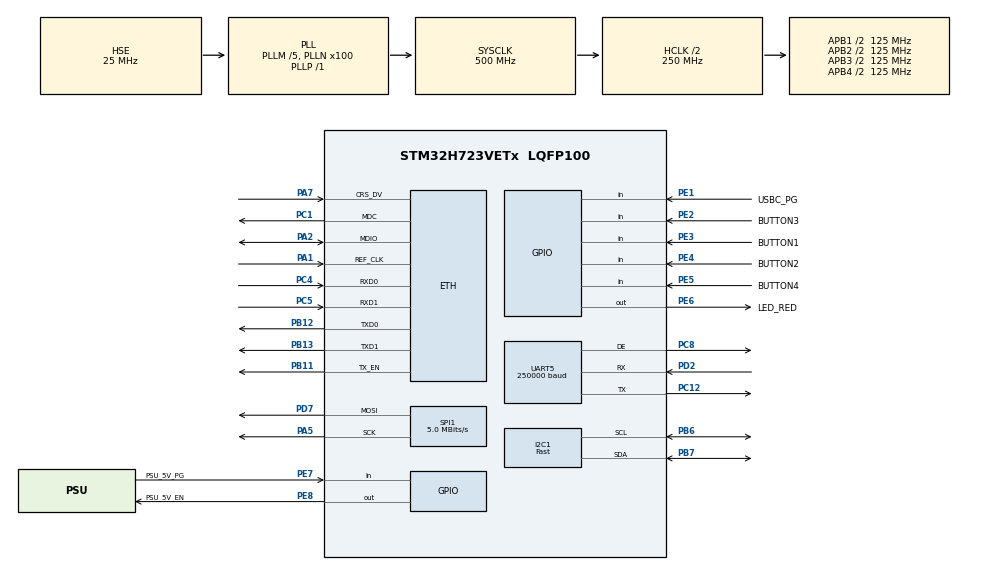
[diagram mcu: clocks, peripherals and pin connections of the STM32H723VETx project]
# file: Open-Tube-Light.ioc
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CORTEX_M7.AccessPermission_S-Cortex_Memory_Protection_Unit_Region1_Settings_S=MPU_REGION_FULL_ACCESS
CORTEX_M7.AccessPermission_S-Cortex_Memory_Protection_Unit_Region2_Settings_S=MPU_REGION_FULL_ACCESS
CORTEX_M7.AccessPermission_Spec=MPU_REGION_NO_ACCESS
CORTEX_M7.BaseAddress_S-Cortex_Memory_Protection_Unit_Region1_Settings_S=0x30000000
CORTEX_M7.BaseAddress_S-Cortex_Memory_Protection_Unit_Region2_Settings_S=0x24000000
CORTEX_M7.BaseAddress_Spec=0x0
CORTEX_M7.CPU_DCache=Enabled
CORTEX_M7.CPU_ICache=Enabled
CORTEX_M7.DisableExec_S-Cortex_Memory_Protection_Unit_Region1_Settings_S=MPU_INSTRUCTION_ACCESS_DISABLE
CORTEX_M7.DisableExec_S-Cortex_Memory_Protection_Unit_Region2_Settings_S=MPU_INSTRUCTION_ACCESS_DISABLE
CORTEX_M7.Enable_S-Cortex_Memory_Protection_Unit_Region1_Settings_S=MPU_REGION_ENABLE
CORTEX_M7.Enable_S-Cortex_Memory_Protection_Unit_Region2_Settings_S=MPU_REGION_ENABLE
CORTEX_M7.Enable_S-Cortex_Memory_Protection_Unit_Region3_Settings_S=__NULL
CORTEX_M7.IsBufferable_S-Cortex_Memory_Protection_Unit_Region1_Settings_S=MPU_ACCESS_NOT_BUFFERABLE
CORTEX_M7.IsBufferable_Spec=MPU_ACCESS_NOT_BUFFERABLE
CORTEX_M7.IsShareable_S-Cortex_Memory_Protection_Unit_Region1_Settings_S=MPU_ACCESS_SHAREABLE
CORTEX_M7.IsShareable_S-Cortex_Memory_Protection_Unit_Region2_Settings_S=MPU_ACCESS_SHAREABLE
CORTEX_M7.Size_S-Cortex_Memory_Protection_Unit_Region1_Settings_S=MPU_REGION_SIZE_32KB
CORTEX_M7.Size_S-Cortex_Memory_Protection_Unit_Region2_Settings_S=MPU_REGION_SIZE_64KB
CORTEX_M7.Size_Spec=MPU_REGION_SIZE_4GB
CORTEX_M7.SubRegionDisable_Spec=0x87
CORTEX_M7.TypeExtField_S-Cortex_Memory_Protection_Unit_Region1_Settings_S=MPU_TEX_LEVEL1
CORTEX_M7.TypeExtField_S-Cortex_Memory_Protection_Unit_Region2_Settings_S=MPU_TEX_LEVEL1
CORTEX_M7.default_mode_Activation=1
Dma.I2C1_TX.2.Direction=DMA_MEMORY_TO_PERIPH
Dma.I2C1_TX.2.EventEnable=DISABLE
Dma.I2C1_TX.2.FIFOMode=DMA_FIFOMODE_DISABLE
Dma.I2C1_TX.2.Instance=DMA1_Stream2
Dma.I2C1_TX.2.MemDataAlignment=DMA_MDATAALIGN_BYTE
Dma.I2C1_TX.2.MemInc=DMA_MINC_ENABLE
Dma.I2C1_TX.2.Mode=DMA_NORMAL
Dma.I2C1_TX.2.PeriphDataAlignment=DMA_PDATAALIGN_BYTE
Dma.I2C1_TX.2.PeriphInc=DMA_PINC_DISABLE
Dma.I2C1_TX.2.Polarity=HAL_DMAMUX_REQ_GEN_RISING
Dma.I2C1_TX.2.Priority=DMA_PRIORITY_LOW
Dma.I2C1_TX.2.RequestNumber=1
Dma.I2C1_TX.2.SignalID=NONE
Dma.I2C1_TX.2.SyncEnable=DISABLE
Dma.I2C1_TX.2.SyncPolarity=HAL_DMAMUX_SYNC_NO_EVENT
Dma.I2C1_TX.2.SyncRequestNumber=1
Dma.I2C1_TX.2.SyncSignalID=NONE
Dma.Request0=SPI1_TX
Dma.Request1=UART5_RX
Dma.Request2=I2C1_TX
Dma.SPI1_TX.0.Direction=DMA_MEMORY_TO_PERIPH
Dma.SPI1_TX.0.EventEnable=DISABLE
Dma.SPI1_TX.0.FIFOMode=DMA_FIFOMODE_DISABLE
Dma.SPI1_TX.0.Instance=DMA1_Stream0
Dma.SPI1_TX.0.MemDataAlignment=DMA_MDATAALIGN_BYTE
Dma.SPI1_TX.0.MemInc=DMA_MINC_ENABLE
Dma.SPI1_TX.0.Mode=DMA_NORMAL
Dma.SPI1_TX.0.PeriphDataAlignment=DMA_PDATAALIGN_BYTE
Dma.SPI1_TX.0.PeriphInc=DMA_PINC_DISABLE
Dma.SPI1_TX.0.Polarity=HAL_DMAMUX_REQ_GEN_RISING
Dma.SPI1_TX.0.Priority=DMA_PRIORITY_MEDIUM
Dma.SPI1_TX.0.RequestNumber=1
Dma.SPI1_TX.0.SignalID=NONE
Dma.SPI1_TX.0.SyncEnable=DISABLE
Dma.SPI1_TX.0.SyncPolarity=HAL_DMAMUX_SYNC_NO_EVENT
Dma.SPI1_TX.0.SyncRequestNumber=1
Dma.SPI1_TX.0.SyncSignalID=NONE
Dma.UART5_RX.1.Direction=DMA_PERIPH_TO_MEMORY
Dma.UART5_RX.1.EventEnable=DISABLE
Dma.UART5_RX.1.FIFOMode=DMA_FIFOMODE_DISABLE
Dma.UART5_RX.1.Instance=DMA1_Stream1
Dma.UART5_RX.1.MemDataAlignment=DMA_MDATAALIGN_BYTE
Dma.UART5_RX.1.MemInc=DMA_MINC_ENABLE
Dma.UART5_RX.1.Mode=DMA_NORMAL
Dma.UART5_RX.1.PeriphDataAlignment=DMA_PDATAALIGN_BYTE
Dma.UART5_RX.1.PeriphInc=DMA_PINC_DISABLE
Dma.UART5_RX.1.Polarity=HAL_DMAMUX_REQ_GEN_RISING
Dma.UART5_RX.1.Priority=DMA_PRIORITY_MEDIUM
Dma.UART5_RX.1.RequestNumber=1
Dma.UART5_RX.1.SignalID=NONE
Dma.UART5_RX.1.SyncEnable=DISABLE
Dma.UART5_RX.1.SyncPolarity=HAL_DMAMUX_SYNC_NO_EVENT
Dma.UART5_RX.1.SyncRequestNumber=1
Dma.UART5_RX.1.SyncSignalID=NONE
ETH.ETH_RX_DESC_CNT=20
ETH.MediaInterface=HAL_ETH_RMII_MODE
ETH.RxBufferAddress=0x24008000
ETH.RxDescAddress=0x30000000
ETH.TxDescAddress=0x300001e0
FREERTOS.Tasks01=ControlTask,16,512,ControlTaskRun,Default,NULL,Dynamic,NULL,NULL;EffectTask,32,512,EffectTaskRun,Default,NULL,Dynamic,NULL,NULL
FREERTOS.configCHECK_FOR_STACK_OVERFLOW=2
FREERTOS.configUSE_NEWLIB_REENTRANT=1
I2C1.I2C_Speed_Mode=I2C_Fast
I2C1.Timing=0x00C042E4
LWIP.BSP.number=1
LWIP.ETH_RX_BUFFER_CNT=20
LWIP.GATEWAY_ADDRESS=192.168.001.001
LWIP.IP_ADDRESS=192.168.001.179
LWIP.IP_FRAG=1
LWIP.IP_REASSEMBLY=0
LWIP.LWIP_DHCP=0
LWIP.LWIP_RAM_HEAP_POINTER=0x24000000
LWIP.MEMP_NUM_UDP_PCB=10
LWIP.MEM_SIZE=32*1024
LWIP.NETMASK_ADDRESS=255.255.255.000
LWIP.PBUF_POOL_BUFSIZE=1536
LWIP.PBUF_POOL_SIZE=24
LWIP.TCPIP_THREAD_STACKSIZE=2048
LWIP.Version=v2.2.1_Cube
LWIP0.BSP.STBoard=false
LWIP0.BSP.api=BSP_COMPONENT_DRIVER
LWIP0.BSP.component=LAN8742
LWIP0.BSP.instance=LAN8742
LWIP0.BSP.name=Driver_PHY
LWIP0.BSP.semaphore=S_LAN8742
LWIP0.BSP.solution=LAN8742
Mcu.Family=STM32H7
Mcu.Name=STM32H723VETx
Mcu.Package=LQFP100
NVIC.DMA1_Stream0_IRQn=true\:5\:0\:false\:false\:true\:true\:false\:true\:true
NVIC.DMA1_Stream1_IRQn=true\:5\:0\:false\:false\:true\:true\:false\:true\:true
NVIC.DMA1_Stream2_IRQn=true\:5\:0\:false\:false\:true\:true\:false\:true\:true
NVIC.ETH_IRQn=true\:5\:0\:false\:false\:true\:true\:true\:true\:true
NVIC.I2C1_ER_IRQn=true\:5\:0\:false\:false\:true\:true\:true\:true\:true
NVIC.I2C1_EV_IRQn=true\:5\:0\:false\:false\:true\:true\:true\:true\:true
NVIC.PriorityGroup=NVIC_PRIORITYGROUP_4
NVIC.SPI1_IRQn=true\:5\:0\:false\:false\:true\:true\:false\:true\:true
NVIC.TIM6_DAC_IRQn=true\:15\:0\:false\:false\:true\:false\:false\:true\:true
NVIC.TimeBase=TIM6_DAC_IRQn
NVIC.TimeBaseIP=TIM6
NVIC.UART5_IRQn=true\:3\:0\:true\:false\:true\:false\:true\:true\:true
PA1.GPIO_Speed=GPIO_SPEED_FREQ_VERY_HIGH
PA1.Mode=RMII
PA1.Signal=ETH_REF_CLK
PA13(JTMS/SWDIO).Mode=Trace_Asynchronous_SW
PA13(JTMS/SWDIO).Signal=DEBUG_JTMS-SWDIO
PA14(JTCK/SWCLK).Mode=Trace_Asynchronous_SW
PA14(JTCK/SWCLK).Signal=DEBUG_JTCK-SWCLK
PA2.GPIO_Speed=GPIO_SPEED_FREQ_VERY_HIGH
PA2.Mode=RMII
PA2.Signal=ETH_MDIO
PA5.GPIO_Speed=GPIO_SPEED_FREQ_MEDIUM
PA5.Mode=TX_Only_Simplex_Unidirect_Master
PA5.Signal=SPI1_SCK
PA7.GPIO_Speed=GPIO_SPEED_FREQ_VERY_HIGH
PA7.Mode=RMII
PA7.Signal=ETH_CRS_DV
PB11.GPIO_Speed=GPIO_SPEED_FREQ_VERY_HIGH
PB11.Mode=RMII
PB11.Signal=ETH_TX_EN
PB12.GPIO_Speed=GPIO_SPEED_FREQ_VERY_HIGH
PB12.Mode=RMII
PB12.Signal=ETH_TXD0
PB13.GPIO_Speed=GPIO_SPEED_FREQ_VERY_HIGH
PB13.Mode=RMII
PB13.Signal=ETH_TXD1
PB3(JTDO/TRACESWO).Mode=Trace_Asynchronous_SW
PB3(JTDO/TRACESWO).Signal=DEBUG_JTDO-SWO
PB6.Mode=I2C
PB6.Signal=I2C1_SCL
PB7.Mode=I2C
PB7.Signal=I2C1_SDA
PC1.GPIO_Speed=GPIO_SPEED_FREQ_VERY_HIGH
PC1.Mode=RMII
PC1.Signal=ETH_MDC
PC12.Mode=Asynchronous
PC12.Signal=UART5_TX
PC4.GPIO_Speed=GPIO_SPEED_FREQ_VERY_HIGH
PC4.Mode=RMII
PC4.Signal=ETH_RXD0
PC5.GPIO_Speed=GPIO_SPEED_FREQ_VERY_HIGH
PC5.Mode=RMII
PC5.Signal=ETH_RXD1
PC8.Mode=Hardware Flow Control (RS485)
PC8.Signal=UART5_DE
PD2.Mode=Asynchronous
PD2.Signal=UART5_RX
PD7.GPIO_Speed=GPIO_SPEED_FREQ_MEDIUM
PD7.Mode=TX_Only_Simplex_Unidirect_Master
PD7.Signal=SPI1_MOSI
PE1.GPIO_Label=USBC_PG
PE1.Signal=GPIO_Input
PE2.GPIO_Label=BUTTON3
PE2.Signal=GPIO_Input
PE3.GPIO_Label=BUTTON1
PE3.Signal=GPIO_Input
PE4.GPIO_Label=BUTTON2
PE4.Signal=GPIO_Input
PE5.GPIO_Label=BUTTON4
PE5.Signal=GPIO_Input
PE6.GPIO_Label=LED_RED
PE6.Signal=GPIO_Output
PE7.GPIO_Label=PSU_5V_PG
PE7.Signal=GPIO_Input
PE8.GPIO_Label=PSU_5V_EN
PE8.Signal=GPIO_Output
PH0-OSC_IN.Mode=HSE-External-Oscillator
PH0-OSC_IN.Signal=RCC_OSC_IN
PH1-OSC_OUT.Mode=HSE-External-Oscillator
PH1-OSC_OUT.Signal=RCC_OSC_OUT
ProjectManager.HeapSize=0x200
ProjectManager.StackSize=0x400
ProjectManager.TargetToolchain=CMake
RCC.ADCFreq_Value=400000000
RCC.APB1Freq_Value=125000000
RCC.APB2Freq_Value=125000000
RCC.APB3Freq_Value=125000000
RCC.APB4Freq_Value=125000000
RCC.CortexFreq_Value=500000000
RCC.D1PPRE=RCC_APB3_DIV2
RCC.D2PPRE1=RCC_APB1_DIV2
RCC.D2PPRE2=RCC_APB2_DIV2
RCC.D3PPRE=RCC_APB4_DIV2
RCC.DIVM1=5
RCC.DIVM2=4
RCC.DIVN1=100
RCC.DIVN2=128
RCC.DIVP1=1
RCC.DIVQ1=50
RCC.HCLKFreq_Value=250000000
RCC.HPRE=RCC_HCLK_DIV2
RCC.PLLSourceVirtual=RCC_PLLSOURCE_HSE
RCC.SYSCLKFreq_VALUE=500000000
RCC.SYSCLKSource=RCC_SYSCLKSOURCE_PLLCLK
RCC.USBFreq_Value=10000000
SPI1.CLKPhase=SPI_PHASE_2EDGE
SPI1.CLKPolarity=SPI_POLARITY_HIGH
SPI1.CalculateBaudRate=5.0 MBits/s
SPI1.DataSize=SPI_DATASIZE_8BIT
SPI1.Direction=SPI_DIRECTION_2LINES_TXONLY
SPI1.MasterKeepIOState=SPI_MASTER_KEEP_IO_STATE_ENABLE
SPI1.Mode=SPI_MODE_MASTER
SPI1.VirtualType=VM_MASTER
UART5.BaudRate=250000
UART5.StopBits=UART_STOPBITS_1
VP_FREERTOS_VS_CMSIS_V2.Mode=CMSIS_V2
VP_LWIP_VS_Enabled.Mode=Enabled
VP_MEMORYMAP_VS_MEMORYMAP.Mode=CurAppReg
VP_SYS_VS_tim6.Mode=TIM6
board=custom

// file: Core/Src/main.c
/* USER CODE BEGIN Header */
/**
 ******************************************************************************
 * @file           : main.c
 * @brief          : Main program body
 ******************************************************************************
 * @attention
 *
 * Copyright (c) 2026 STMicroelectronics.
 * All rights reserved.
 *
 * This software is licensed under terms that can be found in the LICENSE file
 * in the root directory of this software component.
 * If no LICENSE file comes with this software, it is provided AS-IS.
 *
 ******************************************************************************
 */
/* USER CODE END Header */
#include "main.h"
#include "FreeRTOS.h"
#include "cmsis_os2.h"
#include "lwip.h"

/* USER CODE BEGIN Includes */
#include "SK9822/sk9822.h"
#include "Pixel-Render/pixel_render.h"
#include "Device-Config/device_config.h"
#include "DMX-Input/dmx_input.h"
#include "stm32h7xx_hal_gpio.h"
#include "stm32h7xx_hal_uart.h"
#include "OLED/ssd1306.h"
#include "OLED/ssd1306_fonts.h"
#include "Stack-Monitor/stack_monitor.h"

// Included for OLED status page
#include <stdio.h>
#include "lwip/ip4_addr.h"
/* USER CODE END Includes */

/* USER CODE BEGIN PD */
#define CONTROL_TASK_FLAG_INIT_READY  0x02U

// OLED status page
#define OLED_STATUS_UPDATE_PERIOD_MS   1000U
#define OLED_STATUS_FLUSH_TIMEOUT_MS   100U
#define OLED_STATUS_LINE_HEIGHT        12U
#define OLED_STATUS_IPV4_TEXT_LEN      IP4ADDR_STRLEN_MAX
#define OLED_STATUS_LINE_BUFFER_LEN    24U

/* USER CODE END PD */

I2C_HandleTypeDef hi2c1;
DMA_HandleTypeDef hdma_i2c1_tx;

SPI_HandleTypeDef hspi1;
DMA_HandleTypeDef hdma_spi1_tx;

UART_HandleTypeDef huart5;
DMA_HandleTypeDef hdma_uart5_rx;

/* Definitions for ControlTask */
osThreadId_t ControlTaskHandle;
const osThreadAttr_t ControlTask_attributes = {
  .name = "ControlTask",
  .stack_size = 512 * 4,
  .priority = (osPriority_t) osPriorityBelowNormal,
};
/* Definitions for EffectTask */
osThreadId_t EffectTaskHandle;
const osThreadAttr_t EffectTask_attributes = {
  .name = "EffectTask",
  .stack_size = 512 * 4,
  .priority = (osPriority_t) osPriorityAboveNormal,
};
/* USER CODE BEGIN PV */
SK9822_Handle_t hsk9822;

// For OLED status page
extern struct netif gnetif;
/* USER CODE END PV */

void SystemClock_Config(void);
static void MPU_Config(void);
static void MX_GPIO_Init(void);
static void MX_DMA_Init(void);
static void MX_SPI1_Init(void);
static void MX_UART5_Init(void);
static void MX_I2C1_Init(void);
void ControlTaskRun(void *argument);
void EffectTaskRun(void *argument);

/* USER CODE BEGIN PFP */
static const char *OledStatus_GetProtocolText(DeviceConfig_DmxInput_t input_source);
static void OledStatus_FormatIpv4(char *text, size_t text_len, const ip4_addr_t *address);
static void OledStatus_FormatIpv4Bytes(char *text, size_t text_len, const uint8_t address[4]);
static void OledStatus_Draw(void);
static void OledStatus_RunStep(void);

/* USER CODE END PFP */

/* USER CODE BEGIN 0 */

static const char *OledStatus_GetProtocolText(DeviceConfig_DmxInput_t input_source) {
  switch (input_source) {
    case DMX_INPUT_ARTNET:
      return "Art-Net";

    case DMX_INPUT_SACN:
      return "sACN";

    case DMX_INPUT_DMX512:
      return "DMX512";

    default:
      return "Unknown";
  }
}

static void OledStatus_FormatIpv4(char *text, size_t text_len, const ip4_addr_t *address) {
  if ((text == NULL) || (text_len == 0U) || (address == NULL)) {
    return;
  }

  if (ip4addr_ntoa_r(address, text, (int)text_len) == NULL) {
    text[0] = '?';
    text[1] = '\0';
  }
}

static void OledStatus_FormatIpv4Bytes(char *text, size_t text_len, const uint8_t address[4]) {
  ip4_addr_t ipv4_address;

  if (address == NULL) {
    if ((text != NULL) && (text_len > 0U)) {
      text[0] = '\0';
    }
    return;
  }

  IP4_ADDR(&ipv4_address, address[0], address[1], address[2], address[3]);
  OledStatus_FormatIpv4(text, text_len, &ipv4_address);
}

static void OledStatus_Draw(void) {
  const DeviceConfig_t *cfg = DeviceConfig_Get();
  char segments_line[OLED_STATUS_LINE_BUFFER_LEN];
  char protocol_line[OLED_STATUS_LINE_BUFFER_LEN];
  char dmx_line[OLED_STATUS_LINE_BUFFER_LEN];
  char ip_line[OLED_STATUS_LINE_BUFFER_LEN];
  char mask_line[OLED_STATUS_LINE_BUFFER_LEN];
  char ip_text[OLED_STATUS_IPV4_TEXT_LEN];
  char mask_text[OLED_STATUS_IPV4_TEXT_LEN];

  if (cfg == NULL) {
    return;
  }

  /* Static network config is not applied to lwIP yet, so show saved static
   * values in static mode and the live lease while DHCP is active. */
  if (cfg->network.ip_mode == IP_MODE_STATIC) {
    OledStatus_FormatIpv4Bytes(ip_text, sizeof(ip_text), cfg->network.static_ip);
    OledStatus_FormatIpv4Bytes(mask_text, sizeof(mask_text), cfg->network.static_mask);
  } else {
    OledStatus_FormatIpv4(ip_text, sizeof(ip_text), netif_ip4_addr(&gnetif));
    OledStatus_FormatIpv4(mask_text, sizeof(mask_text), netif_ip4_netmask(&gnetif));
  }

  (void)snprintf(segments_line,
                 sizeof(segments_line),
                 "Seg:%u",
                 (unsigned int)cfg->layout.segment_count);
  (void)snprintf(protocol_line,
                 sizeof(protocol_line),
                 "Prot:%s",
                 OledStatus_GetProtocolText(cfg->dmx.input_source));
  (void)snprintf(dmx_line,
                 sizeof(dmx_line),
                 "DMX:%u",
                 (unsigned int)cfg->dmx.dmx_start_address);
  (void)snprintf(ip_line, sizeof(ip_line), "IP:%s", ip_text);
  (void)snprintf(mask_line, sizeof(mask_line), "Mask:%s", mask_text);

  ssd1306_Fill(Black);
  ssd1306_SetCursor(0, 0);
  (void)ssd1306_WriteString(segments_line, Font_6x8, White);
  ssd1306_SetCursor(0, OLED_STATUS_LINE_HEIGHT);
  (void)ssd1306_WriteString(protocol_line, Font_6x8, White);
  ssd1306_SetCursor(0, 2U * OLED_STATUS_LINE_HEIGHT);
  (void)ssd1306_WriteString(dmx_line, Font_6x8, White);
  ssd1306_SetCursor(0, 3U * OLED_STATUS_LINE_HEIGHT);
  (void)ssd1306_WriteString(ip_line, Font_6x8, White);
  ssd1306_SetCursor(0, 4U * OLED_STATUS_LINE_HEIGHT);
  (void)ssd1306_WriteString(mask_line, Font_6x8, White);
}

static void OledStatus_RunStep(void) {
  SSD1306_Error_t status;

  OledStatus_Draw();

  /*
   * Start the OLED flush over I2C DMA, then only block when we need bounded
   * confirmation that the transfer completed.
   */
  status = ssd1306_UpdateScreenAsync();
  if (status == SSD1306_BUSY) {
    status = ssd1306_WaitForUpdate(OLED_STATUS_FLUSH_TIMEOUT_MS);
    if (status == SSD1306_OK) {
      status = ssd1306_UpdateScreenAsync();
    }
  }

  if (status == SSD1306_OK) {
    HAL_GPIO_TogglePin(LED_RED_GPIO_Port, LED_RED_Pin);
    (void)ssd1306_WaitForUpdate(OLED_STATUS_FLUSH_TIMEOUT_MS);
  }
}

/* USER CODE END 0 */

int main(void)
{

  /* MPU Configuration--------------------------------------------------------*/
  MPU_Config();

  /* Enable the CPU Cache */

  /* Enable I-Cache---------------------------------------------------------*/
  SCB_EnableICache();

  /* Enable D-Cache---------------------------------------------------------*/
  SCB_EnableDCache();

  /* MCU Configuration--------------------------------------------------------*/

  /* Reset of all peripherals, Initializes the Flash interface and the Systick. */
  HAL_Init();

  /* Configure the system clock */
  SystemClock_Config();

  /* USER CODE BEGIN SysInit */
    HAL_Delay(100); //startup delay. if this is not here, the code will not run after power cycle for some reason, i did not investigate why yet (probably power, HSE, BOOT0 related?)

  /* USER CODE END SysInit */

  /* Initialize all configured peripherals */
  MX_GPIO_Init();
  MX_DMA_Init();
  MX_SPI1_Init();
  MX_UART5_Init();
  MX_I2C1_Init();
  /* USER CODE BEGIN 2 */

  DeviceConfig_Init();

  //5V PSU disabled at startup
  HAL_GPIO_WritePin(PSU_5V_EN_GPIO_Port, PSU_5V_EN_Pin, GPIO_PIN_RESET);
  SK9822_Init(&hsk9822, &hspi1);
  HAL_GPIO_WritePin(PSU_5V_EN_GPIO_Port, PSU_5V_EN_Pin, GPIO_PIN_SET); // This is temporary: we must only enable the PSU if the input voltage is high enough
  /* USER CODE END 2 */

  /* Init scheduler */
  osKernelInitialize();

  /* Create the thread(s) */
  /* creation of ControlTask */
  ControlTaskHandle = osThreadNew(ControlTaskRun, NULL, &ControlTask_attributes);

  /* creation of EffectTask */
  EffectTaskHandle = osThreadNew(EffectTaskRun, NULL, &EffectTask_attributes);

  /* Start scheduler */
  osKernelStart();

  /* We should never get here as control is now taken by the scheduler */

  /* Infinite loop */
    while(1) {

    }
}

void SystemClock_Config(void)
{
  RCC_OscInitTypeDef RCC_OscInitStruct = {0};
  RCC_ClkInitTypeDef RCC_ClkInitStruct = {0};

  /** Supply configuration update enable
  */
  HAL_PWREx_ConfigSupply(PWR_LDO_SUPPLY);

  /** Configure the main internal regulator output voltage
  */
  __HAL_PWR_VOLTAGESCALING_CONFIG(PWR_REGULATOR_VOLTAGE_SCALE0);

  while(!__HAL_PWR_GET_FLAG(PWR_FLAG_VOSRDY)) {}

  /** Initializes the RCC Oscillators according to the specified parameters
  * in the RCC_OscInitTypeDef structure.
  */
  RCC_OscInitStruct.OscillatorType = RCC_OSCILLATORTYPE_HSE;
  RCC_OscInitStruct.HSEState = RCC_HSE_ON;
  RCC_OscInitStruct.PLL.PLLState = RCC_PLL_ON;
  RCC_OscInitStruct.PLL.PLLSource = RCC_PLLSOURCE_HSE;
  RCC_OscInitStruct.PLL.PLLM = 5;
  RCC_OscInitStruct.PLL.PLLN = 100;
  RCC_OscInitStruct.PLL.PLLP = 1;
  RCC_OscInitStruct.PLL.PLLQ = 50;
  RCC_OscInitStruct.PLL.PLLR = 2;
  RCC_OscInitStruct.PLL.PLLRGE = RCC_PLL1VCIRANGE_2;
  RCC_OscInitStruct.PLL.PLLVCOSEL = RCC_PLL1VCOWIDE;
  RCC_OscInitStruct.PLL.PLLFRACN = 0;
  if (HAL_RCC_OscConfig(&RCC_OscInitStruct) != HAL_OK)
  {
    Error_Handler();
  }

  /** Initializes the CPU, AHB and APB buses clocks
  */
  RCC_ClkInitStruct.ClockType = RCC_CLOCKTYPE_HCLK|RCC_CLOCKTYPE_SYSCLK
                              |RCC_CLOCKTYPE_PCLK1|RCC_CLOCKTYPE_PCLK2
                              |RCC_CLOCKTYPE_D3PCLK1|RCC_CLOCKTYPE_D1PCLK1;
  RCC_ClkInitStruct.SYSCLKSource = RCC_SYSCLKSOURCE_PLLCLK;
  RCC_ClkInitStruct.SYSCLKDivider = RCC_SYSCLK_DIV1;
  RCC_ClkInitStruct.AHBCLKDivider = RCC_HCLK_DIV2;
  RCC_ClkInitStruct.APB3CLKDivider = RCC_APB3_DIV2;
  RCC_ClkInitStruct.APB1CLKDivider = RCC_APB1_DIV2;
  RCC_ClkInitStruct.APB2CLKDivider = RCC_APB2_DIV2;
  RCC_ClkInitStruct.APB4CLKDivider = RCC_APB4_DIV2;

  if (HAL_RCC_ClockConfig(&RCC_ClkInitStruct, FLASH_LATENCY_3) != HAL_OK)
  {
    Error_Handler();
  }
}

static void MX_I2C1_Init(void)
{

  hi2c1.Instance = I2C1;
  hi2c1.Init.Timing = 0x00C042E4;
  hi2c1.Init.OwnAddress1 = 0;
  hi2c1.Init.AddressingMode = I2C_ADDRESSINGMODE_7BIT;
  hi2c1.Init.DualAddressMode = I2C_DUALADDRESS_DISABLE;
  hi2c1.Init.OwnAddress2 = 0;
  hi2c1.Init.OwnAddress2Masks = I2C_OA2_NOMASK;
  hi2c1.Init.GeneralCallMode = I2C_GENERALCALL_DISABLE;
  hi2c1.Init.NoStretchMode = I2C_NOSTRETCH_DISABLE;
  if (HAL_I2C_Init(&hi2c1) != HAL_OK)
  {
    Error_Handler();
  }

  /** Configure Analogue filter
  */
  if (HAL_I2CEx_ConfigAnalogFilter(&hi2c1, I2C_ANALOGFILTER_ENABLE) != HAL_OK)
  {
    Error_Handler();
  }

  /** Configure Digital filter
  */
  if (HAL_I2CEx_ConfigDigitalFilter(&hi2c1, 0) != HAL_OK)
  {
    Error_Handler();
  }

}

static void MX_SPI1_Init(void)
{

  /* SPI1 parameter configuration*/
  hspi1.Instance = SPI1;
  hspi1.Init.Mode = SPI_MODE_MASTER;
  hspi1.Init.Direction = SPI_DIRECTION_2LINES_TXONLY;
  hspi1.Init.DataSize = SPI_DATASIZE_8BIT;
  hspi1.Init.CLKPolarity = SPI_POLARITY_HIGH;
  hspi1.Init.CLKPhase = SPI_PHASE_2EDGE;
  hspi1.Init.NSS = SPI_NSS_SOFT;
  hspi1.Init.BaudRatePrescaler = SPI_BAUDRATEPRESCALER_2;
  hspi1.Init.FirstBit = SPI_FIRSTBIT_MSB;
  hspi1.Init.TIMode = SPI_TIMODE_DISABLE;
  hspi1.Init.CRCCalculation = SPI_CRCCALCULATION_DISABLE;
  hspi1.Init.CRCPolynomial = 0x0;
  hspi1.Init.NSSPMode = SPI_NSS_PULSE_ENABLE;
  hspi1.Init.NSSPolarity = SPI_NSS_POLARITY_LOW;
  hspi1.Init.FifoThreshold = SPI_FIFO_THRESHOLD_01DATA;
  hspi1.Init.TxCRCInitializationPattern = SPI_CRC_INITIALIZATION_ALL_ZERO_PATTERN;
  hspi1.Init.RxCRCInitializationPattern = SPI_CRC_INITIALIZATION_ALL_ZERO_PATTERN;
  hspi1.Init.MasterSSIdleness = SPI_MASTER_SS_IDLENESS_00CYCLE;
  hspi1.Init.MasterInterDataIdleness = SPI_MASTER_INTERDATA_IDLENESS_00CYCLE;
  hspi1.Init.MasterReceiverAutoSusp = SPI_MASTER_RX_AUTOSUSP_DISABLE;
  hspi1.Init.MasterKeepIOState = SPI_MASTER_KEEP_IO_STATE_ENABLE;
  hspi1.Init.IOSwap = SPI_IO_SWAP_DISABLE;
  if (HAL_SPI_Init(&hspi1) != HAL_OK)
  {
    Error_Handler();
  }

}

static void MX_UART5_Init(void)
{

  huart5.Instance = UART5;
  huart5.Init.BaudRate = 250000;
  huart5.Init.WordLength = UART_WORDLENGTH_8B;
  huart5.Init.StopBits = UART_STOPBITS_1;
  huart5.Init.Parity = UART_PARITY_NONE;
  huart5.Init.Mode = UART_MODE_TX_RX;
  huart5.Init.HwFlowCtl = UART_HWCONTROL_NONE;
  huart5.Init.OverSampling = UART_OVERSAMPLING_16;
  huart5.Init.OneBitSampling = UART_ONE_BIT_SAMPLE_DISABLE;
  huart5.Init.ClockPrescaler = UART_PRESCALER_DIV1;
  huart5.AdvancedInit.AdvFeatureInit = UART_ADVFEATURE_NO_INIT;
  if (HAL_RS485Ex_Init(&huart5, UART_DE_POLARITY_HIGH, 0, 0) != HAL_OK)
  {
    Error_Handler();
  }
  if (HAL_UARTEx_SetTxFifoThreshold(&huart5, UART_TXFIFO_THRESHOLD_1_8) != HAL_OK)
  {
    Error_Handler();
  }
  if (HAL_UARTEx_SetRxFifoThreshold(&huart5, UART_RXFIFO_THRESHOLD_1_8) != HAL_OK)
  {
    Error_Handler();
  }
  if (HAL_UARTEx_DisableFifoMode(&huart5) != HAL_OK)
  {
    Error_Handler();
  }

}

static void MX_DMA_Init(void)
{

  /* DMA controller clock enable */
  __HAL_RCC_DMA1_CLK_ENABLE();

  /* DMA interrupt init */
  /* DMA1_Stream0_IRQn interrupt configuration */
  HAL_NVIC_SetPriority(DMA1_Stream0_IRQn, 5, 0);
  HAL_NVIC_EnableIRQ(DMA1_Stream0_IRQn);
  /* DMA1_Stream1_IRQn interrupt configuration */
  HAL_NVIC_SetPriority(DMA1_Stream1_IRQn, 5, 0);
  HAL_NVIC_EnableIRQ(DMA1_Stream1_IRQn);
  /* DMA1_Stream2_IRQn interrupt configuration */
  HAL_NVIC_SetPriority(DMA1_Stream2_IRQn, 5, 0);
  HAL_NVIC_EnableIRQ(DMA1_Stream2_IRQn);

}

static void MX_GPIO_Init(void)
{
  GPIO_InitTypeDef GPIO_InitStruct = {0};

  /* GPIO Ports Clock Enable */
  __HAL_RCC_GPIOE_CLK_ENABLE();
  __HAL_RCC_GPIOH_CLK_ENABLE();
  __HAL_RCC_GPIOC_CLK_ENABLE();
  __HAL_RCC_GPIOA_CLK_ENABLE();
  __HAL_RCC_GPIOB_CLK_ENABLE();
  __HAL_RCC_GPIOD_CLK_ENABLE();

  /*Configure GPIO pin Output Level */
  HAL_GPIO_WritePin(GPIOE, LED_RED_Pin|PSU_5V_EN_Pin, GPIO_PIN_RESET);

  /*Configure GPIO pins : BUTTON3_Pin BUTTON1_Pin BUTTON2_Pin BUTTON4_Pin
                           PSU_5V_PG_Pin USBC_PG_Pin */
  GPIO_InitStruct.Pin = BUTTON3_Pin|BUTTON1_Pin|BUTTON2_Pin|BUTTON4_Pin
                          |PSU_5V_PG_Pin|USBC_PG_Pin;
  GPIO_InitStruct.Mode = GPIO_MODE_INPUT;
  GPIO_InitStruct.Pull = GPIO_NOPULL;
  HAL_GPIO_Init(GPIOE, &GPIO_InitStruct);

  /*Configure GPIO pins : LED_RED_Pin PSU_5V_EN_Pin */
  GPIO_InitStruct.Pin = LED_RED_Pin|PSU_5V_EN_Pin;
  GPIO_InitStruct.Mode = GPIO_MODE_OUTPUT_PP;
  GPIO_InitStruct.Pull = GPIO_NOPULL;
  GPIO_InitStruct.Speed = GPIO_SPEED_FREQ_LOW;
  HAL_GPIO_Init(GPIOE, &GPIO_InitStruct);

}

/* USER CODE BEGIN 4 */
void HAL_SPI_TxCpltCallback(SPI_HandleTypeDef *hspi) {
    SK9822_OnTxComplete(&hsk9822, hspi);
}

void HAL_I2C_MasterTxCpltCallback(I2C_HandleTypeDef *hi2c) {
  ssd1306_I2C_MasterTxCpltCallback(hi2c);
}

void HAL_I2C_ErrorCallback(I2C_HandleTypeDef *hi2c) {
  ssd1306_I2C_ErrorCallback(hi2c);
}
/* USER CODE END 4 */

void ControlTaskRun(void *argument)
{
  /* init code for LWIP */
  MX_LWIP_Init();
  /* USER CODE BEGIN 5 */

  // Context for the UI implementation
  //
  // I2C:
  // - enabled with dma and dma transfer interrupt
  // - added a .i2c_buffers section in D2 for the dma buffers
  //
  // Button mapping:
  // - BUTTON1: UP
  // - BUTTON2: DOWN
  // - BUTTON3: MENU/BACK
  // - BUTTON4: ENTER/SELECT

  // Start the configured DMX input source (Art-Net, sACN, or DMX512)
  const DeviceConfig_t *cfg = DeviceConfig_Get();
  DMX_Input_Start(cfg->dmx.input_source, EffectTaskHandle);

  /* Keep OLED ownership inside ControlTask so the status page uses the RTOS-aware DMA path. */
  ssd1306_Init();
  OledStatus_RunStep();

  // Release EffectTask only after the protocol input path is configured.
  osThreadFlagsSet(EffectTaskHandle, CONTROL_TASK_FLAG_INIT_READY);

  /* Infinite loop */
  for(;;)
  {
    // 1 Hz stack/heap high-water marks for Live Watch (stack_monitor_report).
    StackMonitor_Update();
    OledStatus_RunStep();
    osDelay(OLED_STATUS_UPDATE_PERIOD_MS);
  }
  /* USER CODE END 5 */
}

void EffectTaskRun(void *argument)
{
  /* USER CODE BEGIN EffectTaskRun */
  // Wait until ControlTask has finished runtime initialization.
  osThreadFlagsWait(CONTROL_TASK_FLAG_INIT_READY, osFlagsWaitAny, osWaitForever);
  Pixel_Render_Init(&hsk9822);

  uint32_t last_frame_tick = 0;
  bool failsafe_applied = false;
  bool first_frame_received = false;  // No failsafe until first frame arrives

  for (;;)
  {
    // Wait for notification from DMX input source or timeout for periodic SPI refresh
    uint32_t flags = osThreadFlagsWait(DMX_INPUT_FLAG_FRAME_READY, osFlagsWaitAny,
                                       DMX_INPUT_REFRESH_INTERVAL_MS);
    bool new_frame = !(flags & osFlagsError) && (flags & DMX_INPUT_FLAG_FRAME_READY);
    uint32_t now = osKernelGetTickCount();

    if (new_frame) {
      DMX_Input_Latch();
      last_frame_tick = now;
      failsafe_applied = false;
      first_frame_received = true;
      Pixel_Render_Frame();

    } else if (first_frame_received && !failsafe_applied &&
               (now - last_frame_tick) > DMX_Input_GetFailsafeTimeout()) {
      // FAILSAFE: controller disconnected
      failsafe_applied = true;
      Pixel_Render_Failsafe();

    } else {
      // IDLE REFRESH: retransmit current pixel data
      Pixel_Render_Refresh();
    }
  }
  /* USER CODE END EffectTaskRun */
}

 /* MPU Configuration */

void MPU_Config(void)
{
  MPU_Region_InitTypeDef MPU_InitStruct = {0};

  /* Disables the MPU */
  HAL_MPU_Disable();

  /** Initializes and configures the Region and the memory to be protected
  */
  MPU_InitStruct.Enable = MPU_REGION_ENABLE;
  MPU_InitStruct.Number = MPU_REGION_NUMBER0;
  MPU_InitStruct.BaseAddress = 0x0;
  MPU_InitStruct.Size = MPU_REGION_SIZE_4GB;
  MPU_InitStruct.SubRegionDisable = 0x87;
  MPU_InitStruct.TypeExtField = MPU_TEX_LEVEL0;
  MPU_InitStruct.AccessPermission = MPU_REGION_NO_ACCESS;
  MPU_InitStruct.DisableExec = MPU_INSTRUCTION_ACCESS_DISABLE;
  MPU_InitStruct.IsShareable = MPU_ACCESS_SHAREABLE;
  MPU_InitStruct.IsCacheable = MPU_ACCESS_NOT_CACHEABLE;
  MPU_InitStruct.IsBufferable = MPU_ACCESS_NOT_BUFFERABLE;

  HAL_MPU_ConfigRegion(&MPU_InitStruct);

  /** Initializes and configures the Region and the memory to be protected
  */
  MPU_InitStruct.Number = MPU_REGION_NUMBER1;
  MPU_InitStruct.BaseAddress = 0x30000000;
  MPU_InitStruct.Size = MPU_REGION_SIZE_32KB;
  MPU_InitStruct.SubRegionDisable = 0x0;
  MPU_InitStruct.TypeExtField = MPU_TEX_LEVEL1;
  MPU_InitStruct.AccessPermission = MPU_REGION_FULL_ACCESS;

  HAL_MPU_ConfigRegion(&MPU_InitStruct);

  /** Initializes and configures the Region and the memory to be protected
  */
  MPU_InitStruct.Number = MPU_REGION_NUMBER2;
  MPU_InitStruct.BaseAddress = 0x24000000;
  MPU_InitStruct.Size = MPU_REGION_SIZE_64KB;

  HAL_MPU_ConfigRegion(&MPU_InitStruct);
  /* Enables the MPU */
  HAL_MPU_Enable(MPU_PRIVILEGED_DEFAULT);

}

void HAL_TIM_PeriodElapsedCallback(TIM_HandleTypeDef *htim)
{
  if (htim->Instance == TIM6)
  {
    HAL_IncTick();
  }
}

void Error_Handler(void)
{
    __disable_irq();
    while(1) {
    }
}

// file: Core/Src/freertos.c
/* USER CODE BEGIN Header */
/**
  ******************************************************************************
  * File Name          : freertos.c
  * Description        : Code for freertos applications
  ******************************************************************************
  * @attention
  *
  * Copyright (c) 2026 STMicroelectronics.
  * All rights reserved.
  *
  * This software is licensed under terms that can be found in the LICENSE file
  * in the root directory of this software component.
  * If no LICENSE file comes with this software, it is provided AS-IS.
  *
  ******************************************************************************
  */
/* USER CODE END Header */

#include "FreeRTOS.h"
#include "task.h"
#include "main.h"

/* USER CODE BEGIN Includes */
#include "Stack-Monitor/stack_monitor.h"
/* USER CODE END Includes */

/* Hook prototypes */
void vApplicationStackOverflowHook(xTaskHandle xTask, char *pcTaskName);

/* USER CODE BEGIN 4 */
void vApplicationStackOverflowHook(xTaskHandle xTask, char *pcTaskName)
{
   /* Called by the kernel (configCHECK_FOR_STACK_OVERFLOW = 2) during a context
   switch when a task's stack canary is damaged. Records the task identity in
   stack_monitor_overflow and halts; see stack_monitor.h. */
    StackMonitor_OnOverflow(xTask, pcTaskName);
}
/* USER CODE END 4 */
